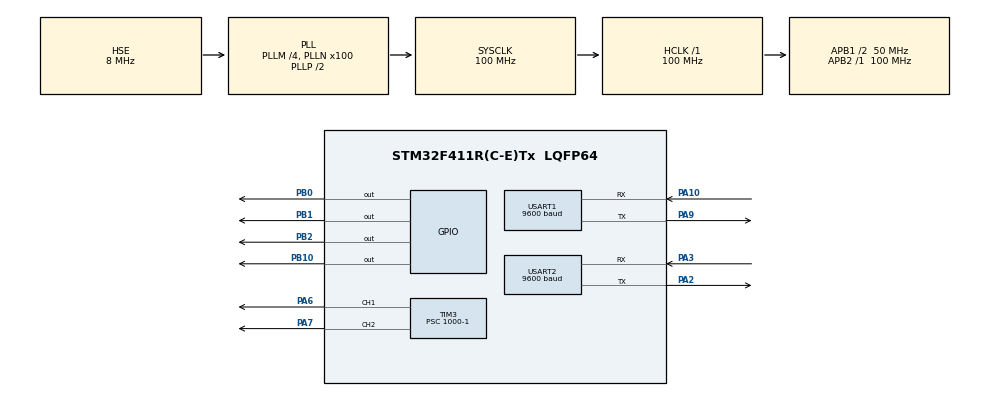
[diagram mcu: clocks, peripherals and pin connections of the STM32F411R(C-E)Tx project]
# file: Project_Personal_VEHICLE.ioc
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FREERTOS.Tasks01=L_MOTOR_TASK,24,128,L_MOTOR_TASK01,Default,NULL,Dynamic,NULL,NULL;R_MOTOR_TASK,8,128,R_MOTOR_TASK01,Default,NULL,Dynamic,NULL,NULL
FREERTOS.configUSE_NEWLIB_REENTRANT=1
Mcu.Family=STM32F4
Mcu.Name=STM32F411R(C-E)Tx
Mcu.Package=LQFP64
NVIC.PriorityGroup=NVIC_PRIORITYGROUP_4
NVIC.TIM1_UP_TIM10_IRQn=true\:15\:0\:false\:false\:true\:false\:false\:true\:true
NVIC.TimeBase=TIM1_UP_TIM10_IRQn
NVIC.TimeBaseIP=TIM10
NVIC.USART1_IRQn=true\:5\:0\:false\:false\:true\:true\:true\:true\:true
NVIC.USART2_IRQn=true\:5\:0\:false\:false\:true\:true\:true\:true\:true
PA10.Mode=Asynchronous
PA10.Signal=USART1_RX
PA13.Mode=Serial_Wire
PA13.Signal=SYS_JTMS-SWDIO
PA14.Mode=Serial_Wire
PA14.Signal=SYS_JTCK-SWCLK
PA2.Mode=Asynchronous
PA2.Signal=USART2_TX
PA3.Mode=Asynchronous
PA3.Signal=USART2_RX
PA6.Signal=S_TIM3_CH1
PA7.Signal=S_TIM3_CH2
PA9.Mode=Asynchronous
PA9.Signal=USART1_TX
PB0.Signal=GPIO_Output
PB1.Signal=GPIO_Output
PB10.Signal=GPIO_Output
PB2.Signal=GPIO_Output
PH0\ -\ OSC_IN.Mode=HSE-External-Oscillator
PH0\ -\ OSC_IN.Signal=RCC_OSC_IN
PH1\ -\ OSC_OUT.Mode=HSE-External-Oscillator
PH1\ -\ OSC_OUT.Signal=RCC_OSC_OUT
ProjectManager.HeapSize=0x200
ProjectManager.StackSize=0x400
ProjectManager.TargetToolchain=STM32CubeIDE
RCC.48MHZClocksFreq_Value=50000000
RCC.AHBFreq_Value=100000000
RCC.APB1CLKDivider=RCC_HCLK_DIV2
RCC.APB1Freq_Value=50000000
RCC.APB1TimFreq_Value=100000000
RCC.APB2Freq_Value=100000000
RCC.APB2TimFreq_Value=100000000
RCC.CortexFreq_Value=100000000
RCC.HCLKFreq_Value=100000000
RCC.HSE_VALUE=8000000
RCC.HSI_VALUE=16000000
RCC.LSE_VALUE=32768
RCC.PLLM=4
RCC.PLLN=100
RCC.PLLSourceVirtual=RCC_PLLSOURCE_HSE
RCC.SYSCLKFreq_VALUE=100000000
RCC.SYSCLKSource=RCC_SYSCLKSOURCE_PLLCLK
RCC.VCOOutputFreq_Value=200000000
SH.S_TIM3_CH1.0=TIM3_CH1,PWM Generation1 CH1
SH.S_TIM3_CH2.0=TIM3_CH2,PWM Generation2 CH2
TIM3.Channel-PWM\ Generation1\ CH1=TIM_CHANNEL_1
TIM3.Channel-PWM\ Generation2\ CH2=TIM_CHANNEL_2
TIM3.Period=1000-1
TIM3.Prescaler=1000-1
USART1.BaudRate=9600
USART1.VirtualMode=VM_ASYNC
USART2.BaudRate=9600
USART2.VirtualMode=VM_ASYNC
VP_FREERTOS_VS_CMSIS_V2.Mode=CMSIS_V2
VP_SYS_VS_tim10.Mode=TIM10
VP_TIM3_VS_ClockSourceINT.Mode=Internal
board=custom

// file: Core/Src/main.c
/* USER CODE BEGIN Header */
/**
  ******************************************************************************
  * @file           : main.c
  * @brief          : Main program body
  ******************************************************************************
  * @attention
  *
  * Copyright (c) 2025 STMicroelectronics.
  * All rights reserved.
  *
  * This software is licensed under terms that can be found in the LICENSE file
  * in the root directory of this software component.
  * If no LICENSE file comes with this software, it is provided AS-IS.
  *
  ******************************************************************************
  */
/* USER CODE END Header */
#include "main.h"
#include "cmsis_os.h"
#include "tim.h"
#include "usart.h"
#include "gpio.h"

void SystemClock_Config(void);
void MX_FREERTOS_Init(void);

int main(void)
{

  /* MCU Configuration--------------------------------------------------------*/

  /* Reset of all peripherals, Initializes the Flash interface and the Systick. */
  HAL_Init();

  /* Configure the system clock */
  SystemClock_Config();

  /* Initialize all configured peripherals */
  MX_GPIO_Init();
  MX_USART2_UART_Init();
  MX_TIM3_Init();
  MX_USART1_UART_Init();

  /* Init scheduler */
  osKernelInitialize();

  /* Call init function for freertos objects (in cmsis_os2.c) */
  MX_FREERTOS_Init();

  /* Start scheduler */
  osKernelStart();

  /* We should never get here as control is now taken by the scheduler */

  /* Infinite loop */
  while (1)
  {

  }
}

void SystemClock_Config(void)
{
  RCC_OscInitTypeDef RCC_OscInitStruct = {0};
  RCC_ClkInitTypeDef RCC_ClkInitStruct = {0};

  /** Configure the main internal regulator output voltage
  */
  __HAL_RCC_PWR_CLK_ENABLE();
  __HAL_PWR_VOLTAGESCALING_CONFIG(PWR_REGULATOR_VOLTAGE_SCALE1);

  /** Initializes the RCC Oscillators according to the specified parameters
  * in the RCC_OscInitTypeDef structure.
  */
  RCC_OscInitStruct.OscillatorType = RCC_OSCILLATORTYPE_HSE;
  RCC_OscInitStruct.HSEState = RCC_HSE_ON;
  RCC_OscInitStruct.PLL.PLLState = RCC_PLL_ON;
  RCC_OscInitStruct.PLL.PLLSource = RCC_PLLSOURCE_HSE;
  RCC_OscInitStruct.PLL.PLLM = 4;
  RCC_OscInitStruct.PLL.PLLN = 100;
  RCC_OscInitStruct.PLL.PLLP = RCC_PLLP_DIV2;
  RCC_OscInitStruct.PLL.PLLQ = 4;
  if (HAL_RCC_OscConfig(&RCC_OscInitStruct) != HAL_OK)
  {
    Error_Handler();
  }

  /** Initializes the CPU, AHB and APB buses clocks
  */
  RCC_ClkInitStruct.ClockType = RCC_CLOCKTYPE_HCLK|RCC_CLOCKTYPE_SYSCLK
                              |RCC_CLOCKTYPE_PCLK1|RCC_CLOCKTYPE_PCLK2;
  RCC_ClkInitStruct.SYSCLKSource = RCC_SYSCLKSOURCE_PLLCLK;
  RCC_ClkInitStruct.AHBCLKDivider = RCC_SYSCLK_DIV1;
  RCC_ClkInitStruct.APB1CLKDivider = RCC_HCLK_DIV2;
  RCC_ClkInitStruct.APB2CLKDivider = RCC_HCLK_DIV1;

  if (HAL_RCC_ClockConfig(&RCC_ClkInitStruct, FLASH_LATENCY_3) != HAL_OK)
  {
    Error_Handler();
  }
}

void HAL_TIM_PeriodElapsedCallback(TIM_HandleTypeDef *htim)
{
  if (htim->Instance == TIM10)
  {
    HAL_IncTick();
  }
}

void Error_Handler(void)
{
  __disable_irq();
  while (1)
  {
  }
}

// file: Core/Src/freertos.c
/* USER CODE BEGIN Header */
/**
  ******************************************************************************
  * File Name          : freertos.c
  * Description        : Code for freertos applications
  ******************************************************************************
  * @attention
  *
  * Copyright (c) 2025 STMicroelectronics.
  * All rights reserved.
  *
  * This software is licensed under terms that can be found in the LICENSE file
  * in the root directory of this software component.
  * If no LICENSE file comes with this software, it is provided AS-IS.
  *
  ******************************************************************************
  */
/* USER CODE END Header */

#include "FreeRTOS.h"
#include "task.h"
#include "main.h"
#include "cmsis_os.h"

/* USER CODE BEGIN Includes */

#include "motor.h"
#include "usart.h"

/* USER CODE END Includes */

/* USER CODE BEGIN PTD */

extern UART_HandleTypeDef huart1;
extern UART_HandleTypeDef huart2;

/* USER CODE END PTD */

/* USER CODE BEGIN Variables */

extern UART_HandleTypeDef huart1;
extern UART_HandleTypeDef huart2;
uint8_t rx_data;

/* USER CODE END Variables */
/* Definitions for L_MOTOR_TASK */
osThreadId_t L_MOTOR_TASKHandle;
const osThreadAttr_t L_MOTOR_TASK_attributes = {
  .name = "L_MOTOR_TASK",
  .stack_size = 128 * 4,
  .priority = (osPriority_t) osPriorityNormal,
};
/* Definitions for R_MOTOR_TASK */
osThreadId_t R_MOTOR_TASKHandle;
const osThreadAttr_t R_MOTOR_TASK_attributes = {
  .name = "R_MOTOR_TASK",
  .stack_size = 128 * 4,
  .priority = (osPriority_t) osPriorityLow,
};

/* USER CODE BEGIN FunctionPrototypes */

void HAL_UART_RxCpltCallback(UART_HandleTypeDef *huart)
{
//  if (huart->Instance == USART2)
//  {
  HAL_UART_Receive_IT(&huart2, &rx_data, sizeof(rx_data));  // 다음 수신 준비 // 디버그용
  HAL_UART_Receive_IT(&huart1, &rx_data, sizeof(rx_data));  // 블루투스
    switch (rx_data)
    {
      case 'F':
        L_Motor_Forward();
        R_Motor_Forward();
        Set_L_Motor_PWM(700);
        Set_R_Motor_PWM(700);
        break;
      case 'B':
        L_Motor_Backward();
        R_Motor_Backward();
        Set_L_Motor_PWM(700);
        Set_R_Motor_PWM(700);
        break;
      case 'L':
        L_Motor_Backward();
        R_Motor_Forward();
        Set_L_Motor_PWM(200);
        Set_R_Motor_PWM(600);
        break;
      case 'R':
        L_Motor_Forward();
        R_Motor_Backward();
        Set_L_Motor_PWM(600);
        Set_R_Motor_PWM(200);
        break;
      case 'X':
        L_Motor_Stop();
        R_Motor_Stop();
        break;
      case 'S':
        L_Motor_Stop();
        R_Motor_Stop();
        break;
    }

//  }
}

/* USER CODE END FunctionPrototypes */

void L_MOTOR_TASK01(void *argument);
void R_MOTOR_TASK01(void *argument);

void MX_FREERTOS_Init(void); /* (MISRA C 2004 rule 8.1) */

void MX_FREERTOS_Init(void) {
  /* USER CODE BEGIN Init */

  HAL_UART_Receive_IT(&huart2, &rx_data, sizeof(rx_data));
  HAL_UART_Receive_IT(&huart1, &rx_data, sizeof(rx_data));

  /* USER CODE END Init */

  /* Create the thread(s) */
  /* creation of L_MOTOR_TASK */
  L_MOTOR_TASKHandle = osThreadNew(L_MOTOR_TASK01, NULL, &L_MOTOR_TASK_attributes);

  /* creation of R_MOTOR_TASK */
  R_MOTOR_TASKHandle = osThreadNew(R_MOTOR_TASK01, NULL, &R_MOTOR_TASK_attributes);

}

void L_MOTOR_TASK01(void *argument)
{
  /* USER CODE BEGIN L_MOTOR_TASK01 */

  HAL_TIM_PWM_Start(&htim3, TIM_CHANNEL_1); // 좌측 PWM 시작
//  HAL_UART_Receive_IT(&huart2, &rx_data, sizeof(rx_data));  // UART 수신 시작
  /* Infinite loop */
  for(;;)
  {
    osDelay(100);  // 아무것도 하지 않고 대기
  }
  /* USER CODE END L_MOTOR_TASK01 */
}

void R_MOTOR_TASK01(void *argument)
{
  /* USER CODE BEGIN R_MOTOR_TASK01 */
  HAL_TIM_PWM_Start(&htim3, TIM_CHANNEL_2); // 우측 PWM 시작
  /* Infinite loop */
  for(;;)
  {
    osDelay(100);  // 아무것도 하지 않고 대기
  }
  /* USER CODE END R_MOTOR_TASK01 */
}
